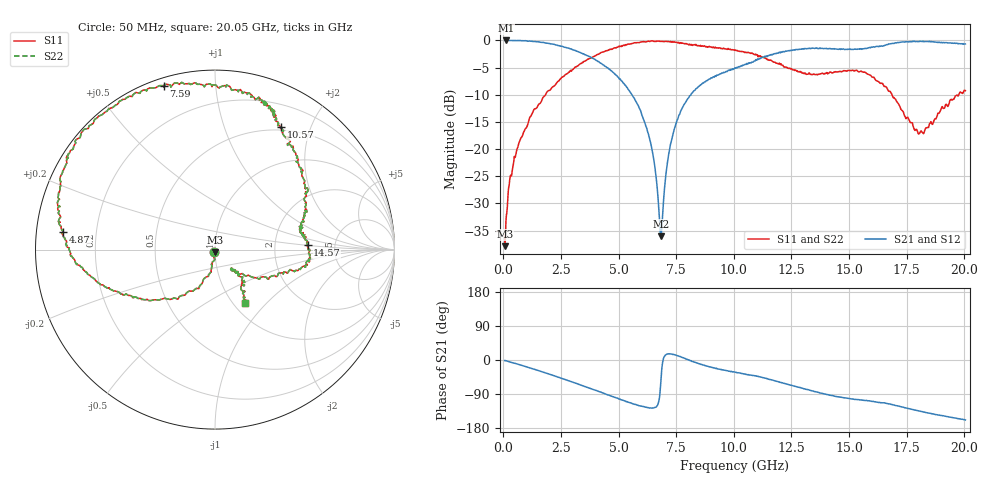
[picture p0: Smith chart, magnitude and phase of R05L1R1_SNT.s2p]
! P/N: 250R05L1R1BV4
! Measured by Marlon
! Oct. 29, 2003
#	mhz	s	ma	r	50
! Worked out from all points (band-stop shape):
!   1001 points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, 50 MHz to 20.05 GHz, reference 50 ohm
!   highest |S21| = 0.00 dB at 110 MHz (marker M1); lowest = -36.0 dB at 6.83 GHz (marker M2)
!   |S21| within 3 dB of the highest: start of sweep to 3.746 GHz; 11.38 GHz to end of sweep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
!   lowest |S11| = -37.9 dB at 70 MHz (marker M3), VSWR 1.03, Z = 49.9 - j1.28 ohm
!   |S11| at or under -10 dB: start of sweep to 1.828 GHz; 16.86 GHz to 19.76 GHz (2.897 GHz wide, 15.8 % of centre)
!   |S22| runs from -37.9 to -0.1 dB; largest |S21 - S12| = 0
!   S11 on the Smith chart (normalised r, x): 50 MHz: 0.99, -0.03; 4.87 GHz: 0.08, +0.06; 7.59 GHz: 0.03, +0.73; 10.57 GHz: 0.46, +1.58; 14.57 GHz: 3.12, +0.21; 20.05 GHz: 1.13, -0.77
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50  0.01544 -111.3  1 -1.5  1 -1.5  0.01544 -111.3
70  0.0128 -91.8  1 -1.3  1 -1.3  0.0128 -91.8
110  0.02221 -94.5  1 -2.2  1 -2.2  0.02221 -94.5
510  0.0838 -103.8  1 -8.8  1 -8.8  0.0838 -103.8
1210  0.2051 -111.1  0.9835 -22.0  0.9835 -22.0  0.2051 -111.1
3390  0.6182 -158.7  0.7643 -66.6  0.7643 -66.6  0.6182 -158.7
4870  0.8526 173.2  0.4817 -99.5  0.4817 -99.5  0.8526 173.2
6190  0.9716 144.3  0.1614 -124.6  0.1614 -124.6  0.9716 144.3
6510  0.9863 137.0  0.08374 -126.6  0.08374 -126.6  0.9863 137.0
6730  0.9848 131.5  0.03101 -111.8  0.03101 -111.8  0.9848 131.5
6830  0.9809 128.5  0.01578 -58.9  0.01578 -58.9  0.9809 128.5
7170  0.9788 119.1  0.08918 16.1  0.08918 16.1  0.9788 119.1
7590  0.9577 107.4  0.1974 10.9  0.1974 10.9  0.9577 107.4
8850  0.8649 74.9  0.4282 -16.3  0.4282 -16.3  0.8649 74.9
10050  0.82 66.6  0.5608 -32.1  0.5608 -32.1  0.82 66.6
10570  0.7764 61.6  0.6161 -38.4  0.6161 -38.4  0.7764 61.6
11870  0.6167 35.5  0.7643 -56.6  0.7643 -56.6  0.6167 35.5
13390  0.4853 13.3  0.8492 -81.3  0.8492 -81.3  0.4853 13.3
14570  0.5166 2.7  0.8343 -97.6  0.8343 -97.6  0.5166 2.7
16730  0.3409 -27.2  0.9319 -115.8  0.9319 -115.8  0.3409 -27.2
18110  0.1464 -50.7  0.9816 -135.5  0.9816 -135.5  0.1464 -50.7
20050  0.3447 -60.5  0.9293 -158.2  0.9293 -158.2  0.3447 -60.5
